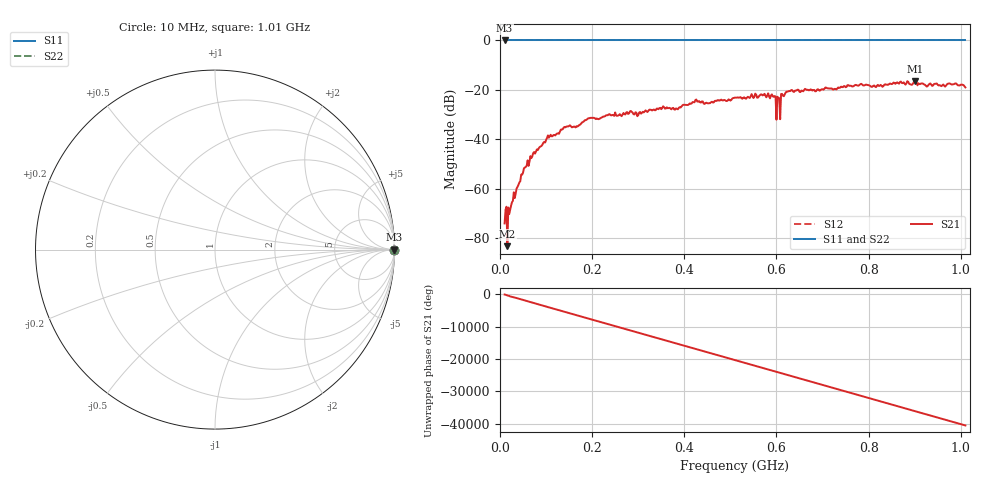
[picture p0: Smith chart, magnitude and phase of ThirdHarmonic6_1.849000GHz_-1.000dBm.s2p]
! 8/16/2025 10:22:36 PM
! C:\ANRITSUVNA\TEMP\TEMP.S2P
! CHANNEL.1
! TR.MEASUREMENT
! RAW.DATA
! RF.CORRECTION.OFF
! AVERAGING.OFF
! IF.BANDWIDTH: 5KHZ
! SWEEPTYPE:  FREQ.SWEEP(Linear)
! Reference Plane Port Info
! PORT:  PORT1  PORT2
! DISTANCE:  0  m  0  m
! TIME:  0  s  0  s
! PHASE.OFFSET:  0  deg.  0  deg.
! LOSS:  0  dB  0  dB
! REF.LOSS:  0  dB  0  dB
! REF.FREQ:  0  Hz  0  Hz
! Power Info
! POWER:  -20  dBm  -20  dBm
! EFF.POWER:  -20  dBm  -20  dBm
! SOURCE.ATTEN:  0  dB  0  dB
! TEST.ATTEN:  0  dB  0  dB
# GHZ S RI R 50.0
! FREQ.GHZ  S11RE  S11IM  S21RE  S21IM  S12RE  S12IM  S22RE  S22IM
!; PortSelection: Port_12
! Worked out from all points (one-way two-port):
!   501 points, 10 MHz to 1.01 GHz, reference 50 ohm
!   highest |S21| = -16.48 dB at 900 MHz (marker M1); lowest = -83.4 dB at 16 MHz (marker M2)
!   lowest |S11| = 0.0 dB at 10 MHz (marker M3)
!   |S11| at or under -10 dB: nowhere
!   |S22| runs from 0.0 to 0.0 dB; largest |S21 - S12| = 1.1
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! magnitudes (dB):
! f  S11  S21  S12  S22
! 10 MHz  0.0  -74.2  0.0  0.0
! 12 MHz  0.0  -68.6  0.0  0.0
! 16 MHz  0.0  -83.4  0.0  0.0
! 20 MHz  0.0  -70.4  0.0  0.0
! 22 MHz  0.0  -68.6  0.0  0.0
! 50 MHz  0.0  -53.6  0.0  0.0
! 70 MHz  0.0  -47.0  0.0  0.0
! 106 MHz  0.0  -39.4  0.0  0.0
! 178 MHz  0.0  -33.2  0.0  0.0
! 196 MHz  0.0  -31.4  0.0  0.0
! 344 MHz  0.0  -27.9  0.0  0.0
! 382 MHz  0.0  -27.5  0.0  0.0
! 422 MHz  0.0  -25.0  0.0  0.0
! 510 MHz  0.0  -23.2  0.0  0.0
! 592 MHz  0.0  -22.7  0.0  0.0
! 604 MHz  0.0  -23.2  0.0  0.0
! 614 MHz  0.0  -22.3  0.0  0.0
! 624 MHz  0.0  -20.8  0.0  0.0
! 678 MHz  0.0  -20.3  0.0  0.0
! 844 MHz  0.0  -17.7  0.0  0.0
! 900 MHz  0.0  -16.5  0.0  0.0
! 1.01 GHz  0.0  -19.0  0.0  0.0
